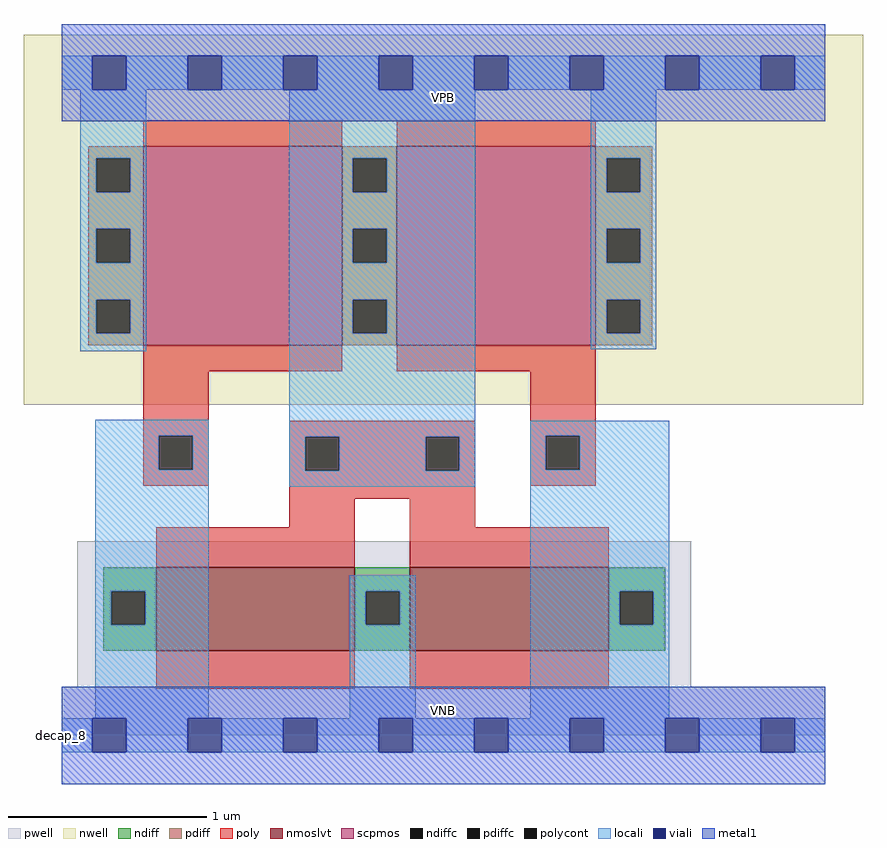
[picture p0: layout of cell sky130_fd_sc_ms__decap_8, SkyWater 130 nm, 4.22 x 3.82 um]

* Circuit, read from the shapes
.subckt sky130_fd_sc_ms__decap_8 VGND VNB VPB VPWR
XM1 VGND VPWR VGND VNB sky130_fd_pr__nfet_01v8_lvt w=0.42 l=1 m=2
XM2 VPWR VGND VPWR VPB sky130_fd_pr__pfet_01v8 w=1 l=1 m=2
.ends

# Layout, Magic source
magic
tech sky130A
magscale 1 2
<< nwell >>
rect -38 332 806 704
<< pwell >>
rect 16 49 633 195
rect 0 0 768 49
<< scpmos >>
rect 82 392 282 592
rect 337 392 537 592
<< nmoslvt >>
rect 95 85 295 169
rect 350 85 550 169
<< ndiff >>
rect 42 145 95 169
rect 42 111 50 145
rect 84 111 95 145
rect 42 85 95 111
rect 295 145 350 169
rect 295 111 306 145
rect 340 111 350 145
rect 295 85 350 111
rect 550 145 607 169
rect 550 111 561 145
rect 595 111 607 145
rect 550 85 607 111
<< pdiff >>
rect 27 580 82 592
rect 27 546 35 580
rect 69 546 82 580
rect 27 509 82 546
rect 27 475 35 509
rect 69 475 82 509
rect 27 438 82 475
rect 27 404 35 438
rect 69 404 82 438
rect 27 392 82 404
rect 282 580 337 592
rect 282 546 293 580
rect 327 546 337 580
rect 282 509 337 546
rect 282 475 293 509
rect 327 475 337 509
rect 282 438 337 475
rect 282 404 293 438
rect 327 404 337 438
rect 282 392 337 404
rect 537 580 594 592
rect 537 546 548 580
rect 582 546 594 580
rect 537 509 594 546
rect 537 475 548 509
rect 582 475 594 509
rect 537 438 594 475
rect 537 404 548 438
rect 582 404 594 438
rect 537 392 594 404
<< ndiffc >>
rect 50 111 84 145
rect 306 111 340 145
rect 561 111 595 145
<< pdiffc >>
rect 35 546 69 580
rect 35 475 69 509
rect 35 404 69 438
rect 293 546 327 580
rect 293 475 327 509
rect 293 404 327 438
rect 548 546 582 580
rect 548 475 582 509
rect 548 404 582 438
<< poly >>
rect 82 592 282 618
rect 337 592 537 618
rect 82 366 282 392
rect 337 366 537 392
rect 82 301 148 366
rect 82 267 98 301
rect 132 267 148 301
rect 82 251 148 267
rect 229 300 416 316
rect 229 266 245 300
rect 279 266 366 300
rect 400 266 416 300
rect 229 238 416 266
rect 471 301 537 366
rect 471 267 487 301
rect 521 267 537 301
rect 471 251 537 267
rect 229 209 295 238
rect 95 169 295 209
rect 350 209 416 238
rect 350 169 550 209
rect 95 47 295 85
rect 350 47 550 85
<< polycont >>
rect 98 267 132 301
rect 245 266 279 300
rect 366 266 400 300
rect 487 267 521 301
<< locali >>
rect 0 649 31 683
rect 65 649 127 683
rect 161 649 223 683
rect 257 649 319 683
rect 353 649 415 683
rect 449 649 511 683
rect 545 649 607 683
rect 641 649 703 683
rect 737 649 768 683
rect 19 580 85 649
rect 19 546 35 580
rect 69 546 85 580
rect 19 509 85 546
rect 19 475 35 509
rect 69 475 85 509
rect 19 438 85 475
rect 19 404 35 438
rect 69 404 85 438
rect 19 386 85 404
rect 229 580 416 649
rect 229 546 293 580
rect 327 546 416 580
rect 229 509 416 546
rect 229 475 293 509
rect 327 475 416 509
rect 229 438 416 475
rect 229 404 293 438
rect 327 404 416 438
rect 34 301 148 317
rect 34 267 98 301
rect 132 267 148 301
rect 34 145 148 267
rect 229 300 416 404
rect 532 580 598 649
rect 532 546 548 580
rect 582 546 598 580
rect 532 509 598 546
rect 532 475 548 509
rect 582 475 598 509
rect 532 438 598 475
rect 532 404 548 438
rect 582 404 598 438
rect 532 388 598 404
rect 229 266 245 300
rect 279 266 366 300
rect 400 266 416 300
rect 229 250 416 266
rect 471 301 611 316
rect 471 267 487 301
rect 521 267 611 301
rect 34 111 50 145
rect 84 111 148 145
rect 34 17 148 111
rect 290 145 356 161
rect 290 111 306 145
rect 340 111 356 145
rect 290 17 356 111
rect 471 145 611 267
rect 471 111 561 145
rect 595 111 611 145
rect 471 17 611 111
rect 0 -17 31 17
rect 65 -17 127 17
rect 161 -17 223 17
rect 257 -17 319 17
rect 353 -17 415 17
rect 449 -17 511 17
rect 545 -17 607 17
rect 641 -17 703 17
rect 737 -17 768 17
<< viali >>
rect 31 649 65 683
rect 127 649 161 683
rect 223 649 257 683
rect 319 649 353 683
rect 415 649 449 683
rect 511 649 545 683
rect 607 649 641 683
rect 703 649 737 683
rect 31 -17 65 17
rect 127 -17 161 17
rect 223 -17 257 17
rect 319 -17 353 17
rect 415 -17 449 17
rect 511 -17 545 17
rect 607 -17 641 17
rect 703 -17 737 17
<< metal1 >>
rect 0 683 768 715
rect 0 649 31 683
rect 65 649 127 683
rect 161 649 223 683
rect 257 649 319 683
rect 353 649 415 683
rect 449 649 511 683
rect 545 649 607 683
rect 641 649 703 683
rect 737 649 768 683
rect 0 617 768 649
rect 0 17 768 49
rect 0 -17 31 17
rect 65 -17 127 17
rect 161 -17 223 17
rect 257 -17 319 17
rect 353 -17 415 17
rect 449 -17 511 17
rect 545 -17 607 17
rect 641 -17 703 17
rect 737 -17 768 17
rect 0 -49 768 -17
<< labels >>
flabel pwell s 0 0 768 49 0 FreeSans 200 0 0 0 VNB
port 2 nsew ground bidirectional
flabel nwell s 0 617 768 666 0 FreeSans 200 0 0 0 VPB
port 3 nsew power bidirectional
rlabel comment s 0 0 0 0 4 decap_8
flabel metal1 s 0 0 768 49 0 FreeSans 340 0 0 0 VGND
port 1 nsew ground bidirectional
flabel metal1 s 0 617 768 666 0 FreeSans 340 0 0 0 VPWR
port 4 nsew power bidirectional
<< properties >>
string LEFsite unit
string LEFclass CORE
string FIXED_BBOX 0 0 768 666
string GDS_FILE $PDKPATH/libs.ref/sky130_fd_sc_ms/gds/sky130_fd_sc_ms.gds
string LEFsymmetry X Y
string GDS_END 3034606
string GDS_START 3030656
<< end >>
